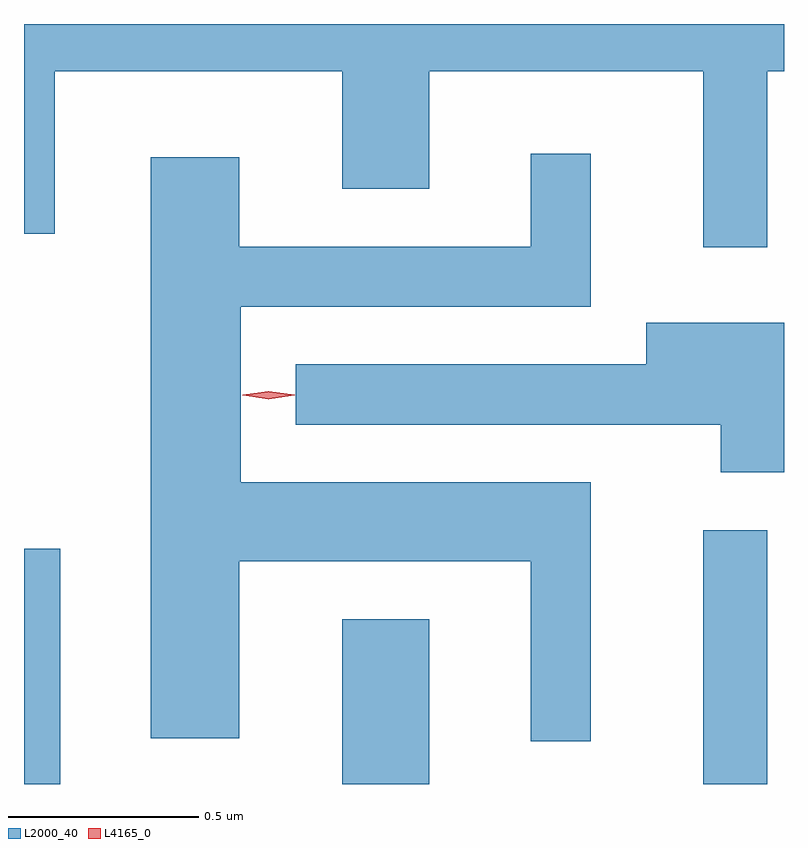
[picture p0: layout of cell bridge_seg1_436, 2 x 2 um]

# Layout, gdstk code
import gdstk
lib = gdstk.Library(unit=1e-6, precision=1e-09)
def R(c, l, rs):  # rectangles x0, y0, x1, y1
    for r in rs: c.add(gdstk.rectangle(r[:2], r[2:], *l))
def P(c, l, *ps):  # polygons
    for p in ps: c.add(gdstk.Polygon(p, *l))
L2000_40 = (2000, 40)
L4165_0 = (4165, 0)

bridge_seg1_436 = lib.new_cell('bridge_seg1_436')
R(bridge_seg1_436, L2000_40, [(391.823,924.34,391.919,924.959), (392.661,924.34,392.889,924.774), (393.611,924.34,393.779,925.008)])
P(bridge_seg1_436, L2000_40, [(393.779,926.216),(393.823,926.216),(393.823,926.34),(391.823,926.34),(391.823,925.788),(391.904,925.788),(391.904,926.216),(392.661,926.216),(392.661,925.906),(392.889,925.906),(392.889,926.216),(393.611,926.216),(393.611,925.753),(393.779,925.753)],
  [(393.314,925.134),(392.394,925.134),(392.394,925.596),(393.314,925.596),(393.314,925.998),(393.156,925.998),(393.156,925.754),(392.389,925.754),(392.389,925.989),(392.156,925.989),(392.156,924.461),(392.389,924.461),(392.389,924.926),(393.156,924.926),(393.156,924.453),(393.314,924.453)],
  [(393.823,925.554),(393.461,925.554),(393.461,925.444),(392.538,925.444),(392.538,925.286),(393.656,925.286),(393.656,925.161),(393.823,925.161)])
P(bridge_seg1_436, L4165_0, [(392.466,925.353),(392.4,925.363),(392.4,925.363),(392.4,925.364),(392.466,925.373),(392.532,925.364),(392.533,925.363),(392.532,925.363)],
  [(392.467,925.353),(392.398,925.363),(392.397,925.363),(392.398,925.364),(392.467,925.373),(392.536,925.364),(392.536,925.363),(392.536,925.363)])

lib.write_gds('bridge_seg1_436.gds')
